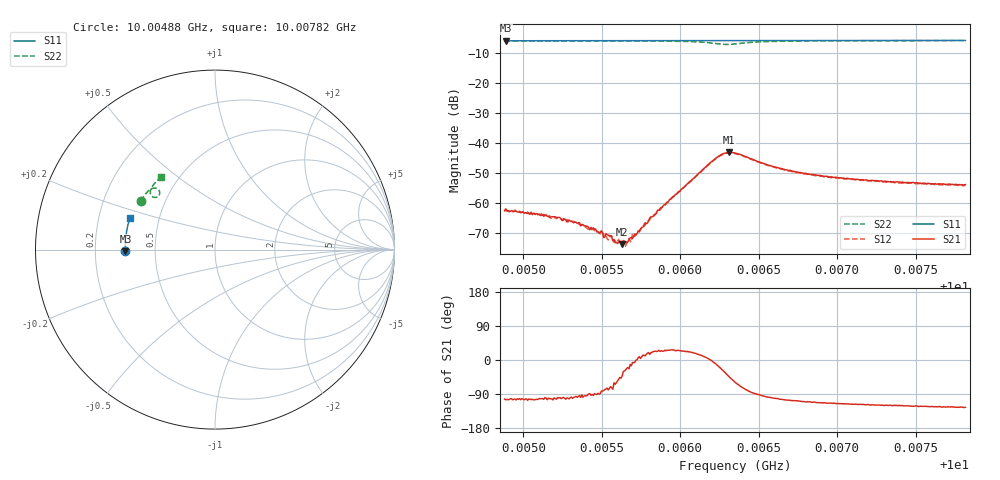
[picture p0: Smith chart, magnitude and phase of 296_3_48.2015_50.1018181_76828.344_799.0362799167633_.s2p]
#  HZ  S  RI  R  50.00
! Rohde & Schwarz Vector Network Analyzer
! Rohde-Schwarz,ZNB20-2Port,1311601062101988,3.16
! Created: UTC 3/20/2024, 11:49:17 AM
! freq[Hz]  re:S11  im:S11  re:S21  im:S21  re:S12  im:S12  re:S22  im:S22
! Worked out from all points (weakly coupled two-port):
!   401 points, 10.00488 GHz to 10.00782 GHz, reference 50 ohm
!   highest |S21| = -43.17 dB at 10.00631 GHz (marker M1); lowest = -73.7 dB at 10.00563 GHz (marker M2)
!   lowest |S11| = -6.0 dB at 10.00489 GHz (marker M3), VSWR 2.99, Z = 16.7 - j0.417 ohm
!   |S11| at or under -10 dB: nowhere
!   |S22| runs from -7.3 to -6.0 dB; largest |S21 - S12| = 0.00041
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1.000488e10  -0.4993 -0.00971  -0.000167 -0.000721  -0.000131 -0.000743  -0.4133 0.2709
1.0004888e10  -0.4992 -0.00937  -0.000206 -0.000773  -0.000115 -0.000734  -0.4131 0.2714
1.0005145e10  -0.4998 0.00737  -0.000118 -0.000622  -9.4e-05 -0.000615  -0.4036 0.2866
1.0005218e10  -0.4998 0.0122  -8.88e-05 -0.000567  -7.62e-05 -0.000563  -0.4007 0.2909
1.0005372e10  -0.4998 0.0222  -1.49e-05 -0.000429  -3.59e-05 -0.000435  -0.3944 0.3002
1.0005446e10  -0.4997 0.0269  -2.58e-05 -0.000386  2.86e-05 -0.00036  -0.3911 0.3047
1.0005512e10  -0.4996 0.0312  4.38e-05 -0.000261  5.01e-05 -0.000288  -0.3878 0.3087
1.0005527e10  -0.4997 0.0322  7e-05 -0.000301  5.61e-05 -0.000287  -0.3872 0.3096
1.0005541e10  -0.4995 0.0331  5.56e-05 -0.000286  6.16e-05 -0.000235  -0.3865 0.3104
1.0005585e10  -0.4995 0.0358  9.53e-05 -0.000196  0.000107 -0.000206  -0.3843 0.313
1.0005629e10  -0.4994 0.0388  0.000152 -0.00014  0.000175 -0.00014  -0.3819 0.3158
1.0005651e10  -0.4993 0.0402  0.000204 -0.000101  0.000173 -8.02e-05  -0.3808 0.3173
1.0005696e10  -0.4992 0.0431  0.000255 -2.99e-05  0.000307 -2.79e-05  -0.3784 0.3202
1.0005864e10  -0.4984 0.054  0.000681 0.000327  0.000677 0.000311  -0.3667 0.331
1.000621e10  -0.4957 0.0761  0.00508 -0.000464  0.00501 -0.00021  -0.3127 0.3306
1.0006261e10  -0.4952 0.0792  0.00585 -0.0025  0.00581 -0.00217  -0.3083 0.312
1.0006312e10  -0.4948 0.0823  0.00496 -0.00485  0.00508 -0.00447  -0.3196 0.2942
1.0006349e10  -0.4946 0.0846  0.00355 -0.00577  0.00373 -0.00547  -0.3335 0.2904
1.0006599e10  -0.4926 0.1005  -0.000761 -0.00393  -0.000554 -0.00388  -0.3596 0.3295
1.0006841e10  -0.4897 0.1161  -0.0011 -0.00277  -0.00095 -0.00276  -0.3491 0.3523
1.0007333e10  -0.4825 0.1469  -0.00111 -0.00196  -0.00103 -0.00197  -0.3247 0.3815
1.0007818e10  -0.4733 0.1768  -0.00115 -0.00166  -0.00103 -0.00166  -0.3001 0.4042
